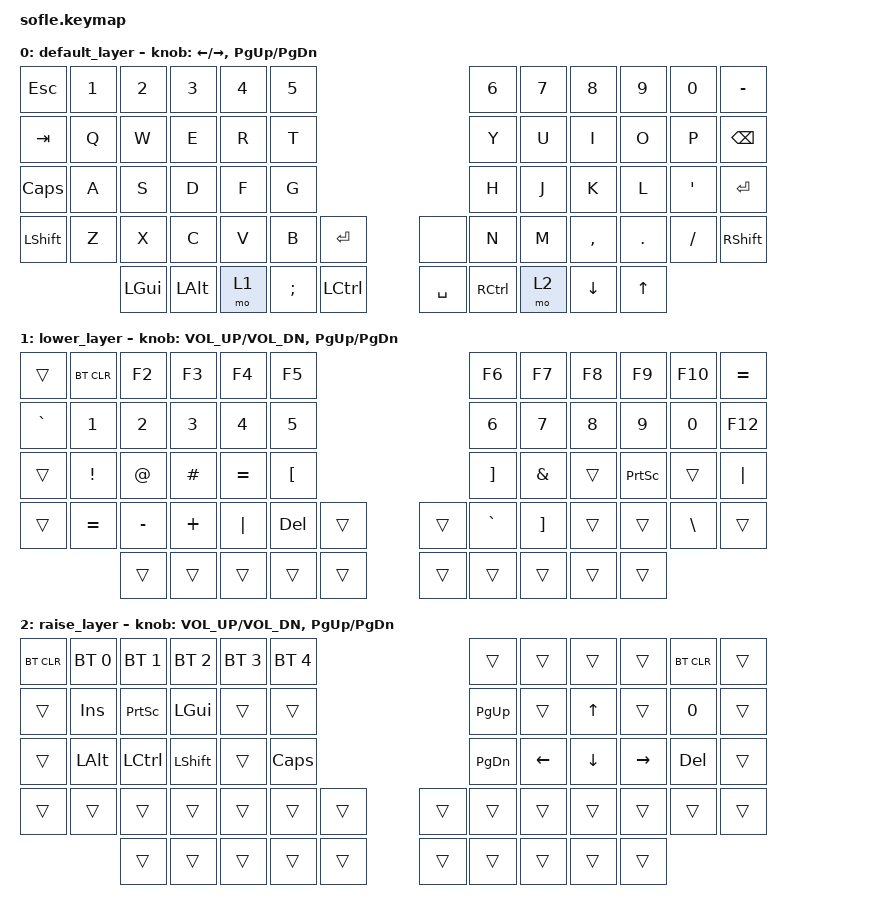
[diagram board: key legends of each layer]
#include <behaviors.dtsi>
#include <dt-bindings/zmk/keys.h>
#include <dt-bindings/zmk/bt.h>

/ {
    keymap {
        compatible = "zmk,keymap";

        default_layer {
// ------------------------------------------------------------------------------------------------------------
// |  `    |  1  |  2  |  3   |  4   |  5   |                   |  6   |  7    |  8    |  9   |   0   |       |
// |  ESC  |  Q  |  W  |  E   |  R   |  T   |                   |  Y   |  U    |  I    |  O   |   P   | BKSPC |
// |  TAB  |  A  |  S  |  D   |  F   |  G   |                   |  H   |  J    |  K    |  L   |   ;   |   '   |
// | SHIFT |  Z  |  X  |  C   |  V   |  B   |  MUTE  |  |       |  N   |  M    |  ,    |  .   |   /   | SHIFT |
//               | GUI | ALT  | CTRL | LOWER|  ENTER |  | SPACE | RAISE| CTRL  | ALT   | GUI  |
            bindings = <
&kp ESC  &kp N1 &kp N2 &kp N3 &kp N4 &kp N5                  &kp N6 &kp N7 &kp N8 &kp N9 &kp N0 &kp MINUS
&kp TAB   &kp Q     &kp W     &kp E     &kp R     &kp T                      &kp Y     &kp U     &kp I     &kp O     &kp P     &kp BSPC
&kp CLCK  &kp A     &kp S     &kp D     &kp F     &kp G                      &kp H     &kp J     &kp K     &kp L     &kp SQT  &kp ENTER
&kp LSHFT  &kp Z     &kp X     &kp C     &kp V     &kp B  &kp ENTER     &none &kp N     &kp M     &kp COMMA  &kp DOT   &kp FSLH  &kp RSHFT
                    &kp LGUI  &kp LALT  &mo 1  &kp SEMI  &kp LCTRL    &kp SPACE    &kp RCTRL  &mo 2     &kp DOWN  &kp UP
            >;

            sensor-bindings = <&inc_dec_kp LEFT RIGHT &inc_dec_kp PG_UP PG_DN>;
        };

        lower_layer {
// TODO: Some binds are waiting for shifted keycode support.
// ------------------------------------------------------------------------------------------------------------
// |       |  F1 |  F2 |  F3  |  F4  |  F5  |                   |  F6  |  F7   |  F8   |  F9  |  F10  |  F11  |
// | `     |   1 |   2 |   3  |   4  |   5  |                   |   6  |   7   |   8   |   9  |    0  |  F12  |
// |       |  !  |  @  |  #   |  $   |  %   |                   |  ^   |  &    |  *    |  (   |   )   |   |   |
// |       |  =  |  -  |  +   |  {   |  }   |        |  |       |  [   |  ]    |  ;    |  :   |   \   |       |
//               |     |      |      |      |        |  |       |      |       |       |      |
            bindings = <
&trans   &bt BT_CLR    &kp F2    &kp F3    &kp F4    &kp F5                   &kp F6    &kp F7    &kp F8    &kp F9    &kp F10  &kp EQUAL   
&kp GRAVE &kp N1 &kp N2 &kp N3 &kp N4 &kp N5                &kp N6 &kp N7 &kp N8 &kp N9 &kp N0 &kp F12
&trans   &kp EXCL  &kp AT  &kp HASH  &kp EQUAL  &kp LBKT                 &kp RBKT  &kp AMPS  &trans  &kp PSCRN  &trans  &kp PIPE
&trans   &kp EQUAL   &kp MINUS &kp PLUS  &kp PIPE  &kp DEL &trans   &trans &kp GRAVE  &kp RBKT  &trans  &trans  &kp BSLH  &trans
                   &trans    &trans    &trans    &trans   &trans   &trans &trans    &trans    &trans    &trans
            >;

            sensor-bindings = <&inc_dec_kp C_VOL_UP C_VOL_DN &inc_dec_kp PG_UP PG_DN>;
        };

        raise_layer {
// ------------------------------------------------------------------------------------------------------------
// |BTCLR| BT1  | BT2  |  BT3  |  BT4  |  BT5 |                |      |      |       |      |       |       |
// |     | INS  | PSCR | GUI   |       |      |                | PGUP |      |   ^   |      |       |       |
// |     | ALT  | CTRL | SHIFT |       | CAPS |                | PGDN |   <- |   v   |  ->  |  DEL  | BKSPC |
// |     | UNDO | CUT  | COPY  | PASTE |      |      |  |      |      |      |       |      |       |       |
//              |      |       |       |      |      |  |      |      |      |       |      |
            bindings = <
&bt BT_CLR &bt BT_SEL 0 &bt BT_SEL 1 &bt BT_SEL 2 &bt BT_SEL 3 &bt BT_SEL 4             &trans   &trans    &trans   &trans   &bt BT_CLR    &trans
&trans     &kp INS      &kp PSCRN     &kp LGUI      &trans       &trans                   &kp PG_UP &trans    &kp UP &trans   &kp N0 &trans
&trans     &kp LALT     &kp LCTRL     &kp LSHFT     &trans       &kp CLCK                 &kp PG_DN &kp LEFT  &kp DOWN &kp RIGHT &kp DEL   &trans
&trans     &trans     &trans      &trans     &trans     &trans  &trans   &trans  &trans   &trans    &trans   &trans   &trans    &trans
                        &trans       &trans       &trans       &trans  &trans   &trans  &trans   &trans    &trans   &trans
            >;

            sensor-bindings = <&inc_dec_kp C_VOL_UP C_VOL_DN &inc_dec_kp PG_UP PG_DN>;
        };
    };
};
